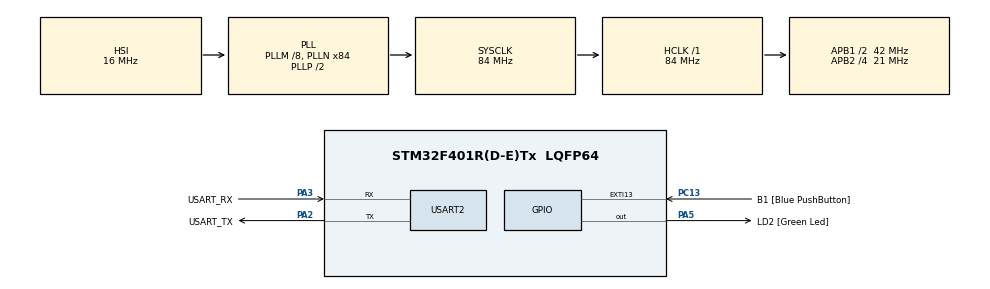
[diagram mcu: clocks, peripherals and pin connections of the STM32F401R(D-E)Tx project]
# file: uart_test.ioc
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Mcu.Family=STM32F4
Mcu.Name=STM32F401R(D-E)Tx
Mcu.Package=LQFP64
NVIC.EXTI15_10_IRQn=true\:0\:0\:false\:false\:true\:true
NVIC.PriorityGroup=NVIC_PRIORITYGROUP_0
NVIC.USART2_IRQn=true\:0\:0\:false\:false\:true\:true
PA13.GPIO_Label=TMS
PA13.Mode=Serial_Wire
PA13.Signal=SYS_JTMS-SWDIO
PA14.GPIO_Label=TCK
PA14.Mode=Serial_Wire
PA14.Signal=SYS_JTCK-SWCLK
PA2.GPIO_Label=USART_TX
PA2.GPIO_Mode=GPIO_MODE_AF_PP
PA2.GPIO_PuPd=GPIO_NOPULL
PA2.GPIO_Speed=GPIO_SPEED_FREQ_LOW
PA2.Mode=Asynchronous
PA2.Signal=USART2_TX
PA3.GPIO_Label=USART_RX
PA3.GPIO_Mode=GPIO_MODE_AF_PP
PA3.GPIO_PuPd=GPIO_NOPULL
PA3.GPIO_Speed=GPIO_SPEED_FREQ_LOW
PA3.Mode=Asynchronous
PA3.Signal=USART2_RX
PA5.GPIO_Label=LD2 [Green Led]
PA5.GPIO_Mode=GPIO_MODE_OUTPUT_PP
PA5.GPIO_PuPd=GPIO_NOPULL
PA5.GPIO_Speed=GPIO_SPEED_FREQ_LOW
PA5.Signal=GPIO_Output
PB3.GPIO_Label=SWO
PB3.Signal=SYS_JTDO-SWO
PC13-ANTI_TAMP.GPIO_Label=B1 [Blue PushButton]
PC13-ANTI_TAMP.GPIO_ModeDefaultEXTI=GPIO_MODE_IT_RISING
PC13-ANTI_TAMP.GPIO_PuPd=GPIO_NOPULL
PC13-ANTI_TAMP.Signal=GPXTI13
PC14-OSC32_IN.Mode=LSE-External-Oscillator
PC14-OSC32_IN.Signal=RCC_OSC32_IN
PC15-OSC32_OUT.Mode=LSE-External-Oscillator
PC15-OSC32_OUT.Signal=RCC_OSC32_OUT
PH0\ -\ OSC_IN.Mode=HSE-External-Clock-Source
PH0\ -\ OSC_IN.Signal=RCC_OSC_IN
PH1\ -\ OSC_OUT.Mode=HSE-External-Clock-Source
PH1\ -\ OSC_OUT.Signal=RCC_OSC_OUT
ProjectManager.HeapSize=0x200
ProjectManager.StackSize=0x400
ProjectManager.TargetToolchain=SW4STM32
RCC.48MHZClocksFreq_Value=24000000
RCC.AHBFreq_Value=84000000
RCC.APB1CLKDivider=RCC_HCLK_DIV2
RCC.APB1Freq_Value=42000000
RCC.APB1TimFreq_Value=84000000
RCC.APB2CLKDivider=RCC_HCLK_DIV4
RCC.APB2Freq_Value=21000000
RCC.APB2TimFreq_Value=42000000
RCC.CortexFreq_Value=84000000
RCC.HCLKFreq_Value=84000000
RCC.HSE_VALUE=8000000
RCC.HSI_VALUE=16000000
RCC.PLLM=8
RCC.PLLN=84
RCC.PLLQ=7
RCC.SYSCLKFreq_VALUE=84000000
RCC.SYSCLKSource=RCC_SYSCLKSOURCE_PLLCLK
RCC.VCOOutputFreq_Value=168000000
TIM1.ClockDivision=TIM_CLOCKDIVISION_DIV1
TIM1.Period=0xFFFF
TIM1.Prescaler=41999
USART2.VirtualMode=VM_ASYNC
VP_TIM1_VS_ClockSourceINT.Mode=Internal
board=NUCLEO-F401RE

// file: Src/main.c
/* USER CODE BEGIN Header */
/**
  ******************************************************************************
  * @file           : main.c
  * @brief          : Main program body
  ******************************************************************************
  ** This notice applies to any and all portions of this file
  * that are not between comment pairs USER CODE BEGIN and
  * USER CODE END. Other portions of this file, whether
  * inserted by the user or by software development tools
  * are owned by their respective copyright owners.
  *
  * COPYRIGHT(c) 2018 STMicroelectronics
  *
  * Redistribution and use in source and binary forms, with or without modification,
  * are permitted provided that the following conditions are met:
  *   1. Redistributions of source code must retain the above copyright notice,
  *      this list of conditions and the following disclaimer.
  *   2. Redistributions in binary form must reproduce the above copyright notice,
  *      this list of conditions and the following disclaimer in the documentation
  *      and/or other materials provided with the distribution.
  *   3. Neither the name of STMicroelectronics nor the names of its contributors
  *      may be used to endorse or promote products derived from this software
  *      without specific prior written permission.
  *
  * THIS SOFTWARE IS PROVIDED BY THE COPYRIGHT HOLDERS AND CONTRIBUTORS "AS IS"
  * AND ANY EXPRESS OR IMPLIED WARRANTIES, INCLUDING, BUT NOT LIMITED TO, THE
  * IMPLIED WARRANTIES OF MERCHANTABILITY AND FITNESS FOR A PARTICULAR PURPOSE ARE
  * DISCLAIMED. IN NO EVENT SHALL THE COPYRIGHT HOLDER OR CONTRIBUTORS BE LIABLE
  * FOR ANY DIRECT, INDIRECT, INCIDENTAL, SPECIAL, EXEMPLARY, OR CONSEQUENTIAL
  * DAMAGES (INCLUDING, BUT NOT LIMITED TO, PROCUREMENT OF SUBSTITUTE GOODS OR
  * SERVICES; LOSS OF USE, DATA, OR PROFITS; OR BUSINESS INTERRUPTION) HOWEVER
  * CAUSED AND ON ANY THEORY OF LIABILITY, WHETHER IN CONTRACT, STRICT LIABILITY,
  * OR TORT (INCLUDING NEGLIGENCE OR OTHERWISE) ARISING IN ANY WAY OUT OF THE USE
  * OF THIS SOFTWARE, EVEN IF ADVISED OF THE POSSIBILITY OF SUCH DAMAGE.
  *
  ******************************************************************************
  */
/* USER CODE END Header */

#include "main.h"

TIM_HandleTypeDef htim1;

UART_HandleTypeDef huart2;

void SystemClock_Config(void);
static void MX_GPIO_Init(void);
static void MX_USART2_UART_Init(void);
static void MX_TIM1_Init(void);

/* USER CODE BEGIN 0 */
uint8_t bufRx[2];
extern void initialise_monitor_handles(void);
/* USER CODE END 0 */

int main(void)
{

  /* MCU Configuration--------------------------------------------------------*/

  /* Reset of all peripherals, Initializes the Flash interface and the Systick. */
  HAL_Init();

  /* Configure the system clock */
  SystemClock_Config();

  /* Initialize all configured peripherals */
  MX_GPIO_Init();
  MX_USART2_UART_Init();
  MX_TIM1_Init();
  /* USER CODE BEGIN 2 */

  uint8_t bufTx[5];

  bufTx[0] = 'T';
  bufTx[1] = '1';
  bufTx[2] = '0';
  bufTx[3] = '2';
  bufTx[4] = '4';

  HAL_UART_Receive_IT(&huart2, bufRx, 5);

  initialise_monitor_handles();
  /* USER CODE END 2 */

  /* Infinite loop */
  /* USER CODE BEGIN WHILE */
  	printf("%lu is the initial cnt value\n", __HAL_TIM_GET_COUNTER(&htim1));
  	HAL_TIM_Base_Start(&htim1);
  	HAL_Delay(1000);
  	printf("%lu is the on the fly cnt value\n", __HAL_TIM_GET_COUNTER(&htim1));
  	HAL_TIM_Base_Stop(&htim1);
  	printf("%lu is the final cnt value\n", __HAL_TIM_GET_COUNTER(&htim1));
  	__HAL_TIM_SET_COUNTER(&htim1, 0);
  	HAL_TIM_Base_Start(&htim1);
  	HAL_Delay(1000);
  	printf("%lu is the final cnt value\n", __HAL_TIM_GET_COUNTER(&htim1));
  while (1)
  {

    /* USER CODE END WHILE */

  }
}

void SystemClock_Config(void)
{
  RCC_OscInitTypeDef RCC_OscInitStruct = {0};
  RCC_ClkInitTypeDef RCC_ClkInitStruct = {0};

  /**Configure the main internal regulator output voltage
  */
  __HAL_RCC_PWR_CLK_ENABLE();
  __HAL_PWR_VOLTAGESCALING_CONFIG(PWR_REGULATOR_VOLTAGE_SCALE2);
  /**Initializes the CPU, AHB and APB busses clocks
  */
  RCC_OscInitStruct.OscillatorType = RCC_OSCILLATORTYPE_HSI;
  RCC_OscInitStruct.HSIState = RCC_HSI_ON;
  RCC_OscInitStruct.HSICalibrationValue = RCC_HSICALIBRATION_DEFAULT;
  RCC_OscInitStruct.PLL.PLLState = RCC_PLL_ON;
  RCC_OscInitStruct.PLL.PLLSource = RCC_PLLSOURCE_HSI;
  RCC_OscInitStruct.PLL.PLLM = 8;
  RCC_OscInitStruct.PLL.PLLN = 84;
  RCC_OscInitStruct.PLL.PLLP = RCC_PLLP_DIV2;
  RCC_OscInitStruct.PLL.PLLQ = 7;
  if (HAL_RCC_OscConfig(&RCC_OscInitStruct) != HAL_OK)
  {
    Error_Handler();
  }
  /**Initializes the CPU, AHB and APB busses clocks
  */
  RCC_ClkInitStruct.ClockType = RCC_CLOCKTYPE_HCLK|RCC_CLOCKTYPE_SYSCLK
                              |RCC_CLOCKTYPE_PCLK1|RCC_CLOCKTYPE_PCLK2;
  RCC_ClkInitStruct.SYSCLKSource = RCC_SYSCLKSOURCE_PLLCLK;
  RCC_ClkInitStruct.AHBCLKDivider = RCC_SYSCLK_DIV1;
  RCC_ClkInitStruct.APB1CLKDivider = RCC_HCLK_DIV2;
  RCC_ClkInitStruct.APB2CLKDivider = RCC_HCLK_DIV4;

  if (HAL_RCC_ClockConfig(&RCC_ClkInitStruct, FLASH_LATENCY_2) != HAL_OK)
  {
    Error_Handler();
  }
}

static void MX_TIM1_Init(void)
{

  TIM_ClockConfigTypeDef sClockSourceConfig = {0};
  TIM_MasterConfigTypeDef sMasterConfig = {0};

  htim1.Instance = TIM1;
  htim1.Init.Prescaler = 41999;
  htim1.Init.CounterMode = TIM_COUNTERMODE_UP;
  htim1.Init.Period = 0xFFFF;
  htim1.Init.ClockDivision = TIM_CLOCKDIVISION_DIV1;
  htim1.Init.RepetitionCounter = 0;
  if (HAL_TIM_Base_Init(&htim1) != HAL_OK)
  {
    Error_Handler();
  }
  sClockSourceConfig.ClockSource = TIM_CLOCKSOURCE_INTERNAL;
  if (HAL_TIM_ConfigClockSource(&htim1, &sClockSourceConfig) != HAL_OK)
  {
    Error_Handler();
  }
  sMasterConfig.MasterOutputTrigger = TIM_TRGO_RESET;
  sMasterConfig.MasterSlaveMode = TIM_MASTERSLAVEMODE_DISABLE;
  if (HAL_TIMEx_MasterConfigSynchronization(&htim1, &sMasterConfig) != HAL_OK)
  {
    Error_Handler();
  }

}

static void MX_USART2_UART_Init(void)
{

  huart2.Instance = USART2;
  huart2.Init.BaudRate = 115200;
  huart2.Init.WordLength = UART_WORDLENGTH_8B;
  huart2.Init.StopBits = UART_STOPBITS_1;
  huart2.Init.Parity = UART_PARITY_NONE;
  huart2.Init.Mode = UART_MODE_TX_RX;
  huart2.Init.HwFlowCtl = UART_HWCONTROL_NONE;
  huart2.Init.OverSampling = UART_OVERSAMPLING_16;
  if (HAL_UART_Init(&huart2) != HAL_OK)
  {
    Error_Handler();
  }

}

static void MX_GPIO_Init(void)
{
  GPIO_InitTypeDef GPIO_InitStruct = {0};

  /* GPIO Ports Clock Enable */
  __HAL_RCC_GPIOC_CLK_ENABLE();
  __HAL_RCC_GPIOH_CLK_ENABLE();
  __HAL_RCC_GPIOA_CLK_ENABLE();
  __HAL_RCC_GPIOB_CLK_ENABLE();

  /*Configure GPIO pin Output Level */
  HAL_GPIO_WritePin(LD2_GPIO_Port, LD2_Pin, GPIO_PIN_RESET);

  /*Configure GPIO pin : B1_Pin */
  GPIO_InitStruct.Pin = B1_Pin;
  GPIO_InitStruct.Mode = GPIO_MODE_IT_RISING;
  GPIO_InitStruct.Pull = GPIO_NOPULL;
  HAL_GPIO_Init(B1_GPIO_Port, &GPIO_InitStruct);

  /*Configure GPIO pin : LD2_Pin */
  GPIO_InitStruct.Pin = LD2_Pin;
  GPIO_InitStruct.Mode = GPIO_MODE_OUTPUT_PP;
  GPIO_InitStruct.Pull = GPIO_NOPULL;
  GPIO_InitStruct.Speed = GPIO_SPEED_FREQ_LOW;
  HAL_GPIO_Init(LD2_GPIO_Port, &GPIO_InitStruct);

  /* EXTI interrupt init*/
  HAL_NVIC_SetPriority(EXTI15_10_IRQn, 0, 0);
  HAL_NVIC_EnableIRQ(EXTI15_10_IRQn);

}

/* USER CODE BEGIN 4 */
// Successful tx event
void HAL_UART_TxCpltCallback(UART_HandleTypeDef *huart) {
	__NOP();
}

// Successful rx event
void HAL_UART_RxCpltCallback(UART_HandleTypeDef *huart) {
	GPIO_PinState pinState;
	if (1) {
		if (bufRx[1] == '1') {
			pinState = GPIO_PIN_SET;
		}
		else if (bufRx[1] == '0') {
			pinState = GPIO_PIN_RESET;
		}
		else {
			Error_Handler();
		}
		HAL_GPIO_WritePin(LD2_GPIO_Port, LD2_Pin, pinState);
		HAL_TIM_Base_Start_IT(&htim1);
	}

}

// Blue button pushed
void HAL_GPIO_EXTI_Callback(uint16_t GPIO_Pin) {
	HAL_TIM_Base_Stop_IT(&htim1);
	printf("blue button pushed\n");
}
/* USER CODE END 4 */

void Error_Handler(void)
{
}

/************************ (C) COPYRIGHT STMicroelectronics *****END OF FILE****/
